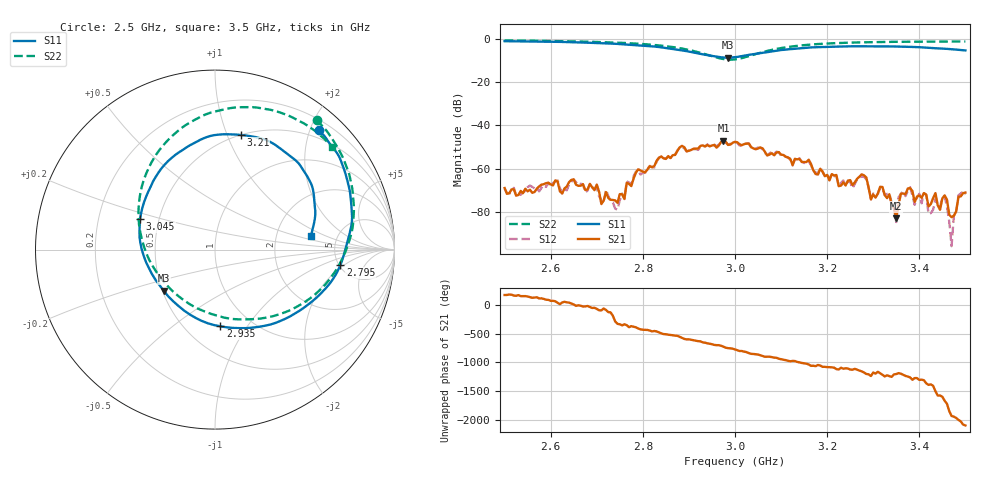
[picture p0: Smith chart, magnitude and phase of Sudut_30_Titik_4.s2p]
# Hz S RI R 50
! CMT, C1220, 16058040, 17.2.0/1
! Date: 15/08/2018 10:31:16
! Data: Format (Calibration Info)
! Freq  S11: Re/Im (F2)  S21: Re/Im (F2)  S12: Re/Im (F2)  S22: Re/Im (F2)
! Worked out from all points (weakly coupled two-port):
!   201 points, 2.5 GHz to 3.5 GHz, reference 50 ohm
!   highest |S21| = -46.96 dB at 2.975 GHz (marker M1); lowest = -82.8 dB at 3.35 GHz (marker M2)
!   lowest |S11| = -8.7 dB at 2.985 GHz (marker M3), VSWR 2.16, Z = 25.4 - j13.5 ohm
!   |S11| at or under -10 dB: nowhere
!   |S22| runs from -9.6 to -0.8 dB; largest |S21 - S12| = 0.00026
!   S11 on the Smith chart (normalised r, x): 2.5 GHz: 0.36, +2.14; 2.795 GHz: 5.16, -1.74; 2.935 GHz: 0.73, -0.76; 3.045 GHz: 0.39, +0.17; 3.21 GHz: 0.50, +1.12; 3.5 GHz: 3.17, +0.70
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2.5e9  0.5785 0.6666  -0.000353 6.5e-05  -0.000347 2.25e-05  0.5659 0.7217
2.67e9  0.7489 0.3376  0.000381 -0.00022  0.000362 -0.000249  0.7367 0.4513
2.745e9  0.7549 0.1097  0.000143 7.88e-05  2.57e-05 0.000111  0.7725 0.2581
2.765e9  0.7366 0.0389  0.000472 4.43e-05  0.000511 2.35e-05  0.7729 0.1969
2.795e9  0.699 -0.0848  0.000351 -0.00084  0.000237 -0.000695  0.7599 0.0907
2.835e9  0.6031 -0.2307  -0.000891 -0.00156  -0.000803 -0.00159  0.7022 -0.0649
2.935e9  0.0303 -0.4275  0.00157 0.00288  0.00147 0.00289  0.2134 -0.3874
2.975e9  -0.2323 -0.2886  0.00442 -0.000748  0.00426 -0.000785  -0.1013 -0.3264
2.985e9  -0.2858 -0.2296  0.00292 -0.00201  0.00302 -0.00189  -0.1743 -0.2816
3e9  -0.3521 -0.135  0.00233 -0.00346  0.00217 -0.00358  -0.2707 -0.196
3.045e9  -0.4178 0.1685  -0.00213 -0.00184  -0.0022 -0.00196  -0.4231 0.1387
3.17e9  -0.00725 0.6372  0.000858 0.000318  0.000846 0.000339  -0.0777 0.7415
3.21e9  0.143 0.6388  0.000746 -9.59e-05  0.000723 -0.000181  0.0679 0.7849
3.335e9  0.4654 0.4812  -0.000242 -8.57e-05  -0.000263 -4.42e-05  0.4043 0.7486
3.35e9  0.4879 0.4492  -4.04e-05 -5.96e-05  -4.57e-05 -3.68e-05  0.4329 0.7356
3.38e9  0.5289 0.3805  -0.000356 1.27e-05  -0.000373 3.54e-05  0.4892 0.7065
3.39e9  0.5384 0.3597  -0.000166 4.03e-05  -0.000136 5.58e-05  0.5044 0.698
3.415e9  0.5512 0.2985  6.21e-05 0.000246  7.62e-05 0.000232  0.5443 0.6706
3.42e9  0.5524 0.2836  9.05e-05 9.92e-05  6.54e-05 6.23e-05  0.5516 0.6654
3.455e9  0.5588 0.1937  -0.000164 0.000179  -0.000164 0.000162  0.6001 0.6251
3.48e9  0.5481 0.132  -0.000101 -2.38e-05  -9.1e-05 -4.75e-05  0.6292 0.5965
3.5e9  0.5339 0.0785  0.000128 0.000251  0.000113 0.000227  0.652 0.5732
